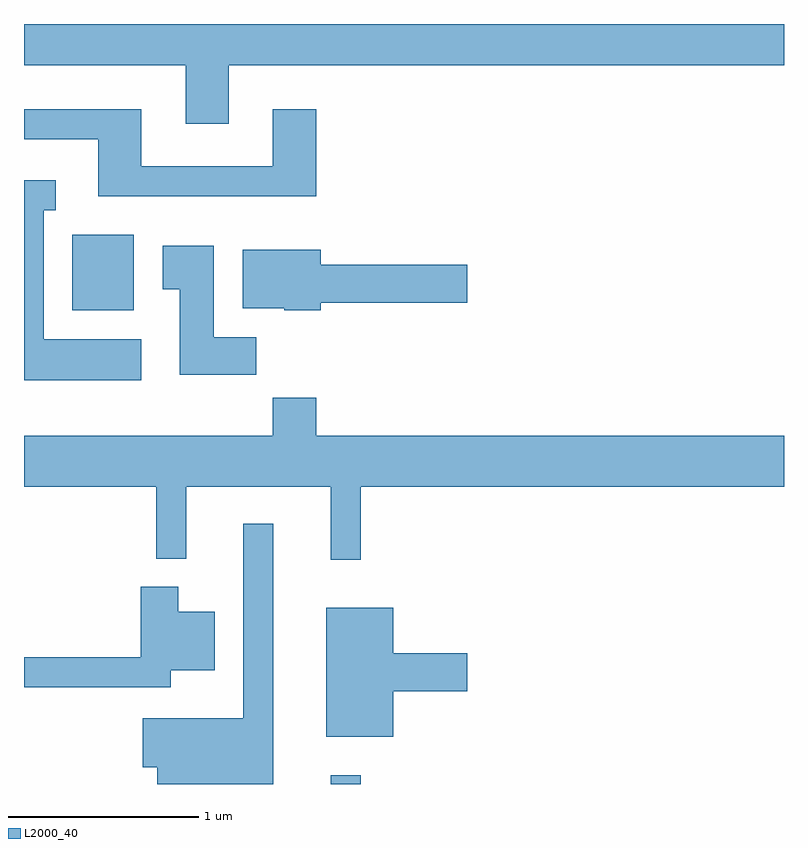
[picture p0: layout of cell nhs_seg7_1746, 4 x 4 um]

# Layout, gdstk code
import gdstk
lib = gdstk.Library(unit=1e-6, precision=1e-09)
def R(c, l, rs):  # rectangles x0, y0, x1, y1
    for r in rs: c.add(gdstk.rectangle(r[:2], r[2:], *l))
def P(c, l, *ps):  # polygons
    for p in ps: c.add(gdstk.Polygon(p, *l))
L2000_40 = (2000, 40)

nhs_seg7_1746 = lib.new_cell('nhs_seg7_1746')
R(nhs_seg7_1746, L2000_40, [(239.226,1768.252,239.384,1768.298), (237.866,1770.746,238.189,1771.144)])
P(nhs_seg7_1746, L2000_40, [(238.689,1772.036),(241.611,1772.036),(241.611,1772.252),(237.611,1772.252),(237.611,1772.036),(238.461,1772.036),(238.461,1771.726),(238.689,1771.726)],
  [(239.149,1771.804),(238.921,1771.804),(238.921,1771.504),(238.229,1771.504),(238.229,1771.804),(237.611,1771.804),(237.611,1771.646),(238.001,1771.646),(238.001,1771.346),(239.149,1771.346)],
  [(238.229,1770.594),(237.714,1770.594),(237.714,1771.271),(237.778,1771.271),(237.778,1771.429),(237.611,1771.429),(237.611,1770.376),(238.229,1770.376)],
  [(238.834,1770.604),(238.609,1770.604),(238.609,1771.084),(238.341,1771.084),(238.341,1770.856),(238.431,1770.856),(238.431,1770.406),(238.834,1770.406)],
  [(239.174,1770.786),(239.944,1770.786),(239.944,1770.984),(239.174,1770.984),(239.174,1771.064),(238.761,1771.064),(238.761,1770.756),(238.98,1770.756),(238.98,1770.746),(239.174,1770.746)],
  [(239.384,1769.816),(241.611,1769.816),(241.611,1770.084),(239.149,1770.084),(239.149,1770.284),(238.921,1770.284),(238.921,1770.084),(237.611,1770.084),(237.611,1769.816),(238.306,1769.816),(238.306,1769.438),(238.464,1769.438),(238.464,1769.816),(239.226,1769.816),(239.226,1769.433),(239.384,1769.433)],
  [(238.924,1769.623),(238.766,1769.623),(238.766,1768.599),(238.236,1768.599),(238.236,1768.341),(238.311,1768.341),(238.311,1768.252),(238.924,1768.252)],
  [(238.384,1768.851),(238.614,1768.851),(238.614,1769.159),(238.424,1769.159),(238.424,1769.289),(238.226,1769.289),(238.226,1768.919),(237.611,1768.919),(237.611,1768.761),(238.384,1768.761)],
  [(239.554,1768.741),(239.944,1768.741),(239.944,1768.939),(239.554,1768.939),(239.554,1769.179),(239.201,1769.179),(239.201,1768.501),(239.554,1768.501)])

lib.write_gds('nhs_seg7_1746.gds')
